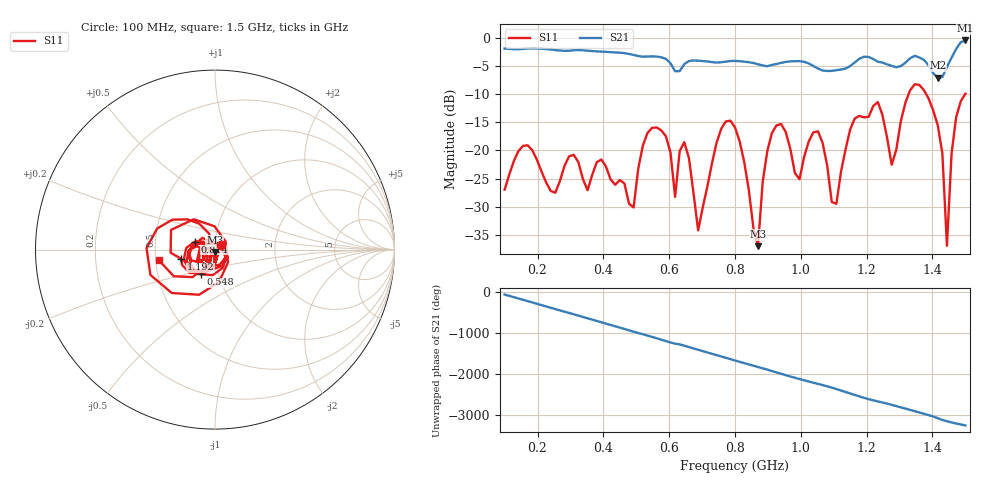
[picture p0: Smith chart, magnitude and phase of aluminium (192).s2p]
! NanoVNA-App
! Date: 2025-09-25 14:56:46
! Start: 100MHz Stop: 1,5GHz Points: 101
! S-Parameter data: F S11 S21 S12 S22
# Hz S RI R 50
!  Frequency  S11_Real  S11_Imag  S21_Real  S21_Imag  S12_Real  S12_Imag  S22_Real  S22_Imag
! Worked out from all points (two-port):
!   101 points, 100 MHz to 1.5 GHz, reference 50 ohm
!   highest |S21| = -0.48 dB at 1.5 GHz (marker M1); lowest = -7.1 dB at 1.416 GHz (marker M2)
!   |S21| within 3 dB of the highest: start of sweep to 576.7 MHz; 1.459 GHz to end of sweep (the widest 2 of 4)
!   lowest |S11| = -37.0 dB at 870 MHz (marker M3), VSWR 1.03, Z = 49.9 - j1.4 ohm
!   |S11| at or under -10 dB: start of sweep to 1.328 GHz; 1.381 GHz to 1.499 GHz (118.6 MHz wide, 8.23 % of centre)
!   S12 and S22 are empty: the file has one direction only
!   S11 on the Smith chart (normalised r, x): 100 MHz: 1.07, +0.06; 548 MHz: 0.82, -0.23; 814 MHz: 0.80, +0.07; 1.192 GHz: 0.68, -0.08; 1.5 GHz: 0.52, -0.07
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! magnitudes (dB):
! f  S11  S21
! 100 MHz  -27.0  -1.9
! 338 MHz  -25.1  -2.2
! 492 MHz  -30.1  -3.1
! 548 MHz  -16.0  -3.3
! 576 MHz  -16.4  -3.5
! 618 MHz  -28.2  -5.9
! 646 MHz  -18.5  -4.7
! 688 MHz  -34.2  -4.1
! 800 MHz  -15.9  -4.1
! 814 MHz  -18.4  -4.2
! 870 MHz  -37.0  -4.7
! 912 MHz  -16.9  -4.8
! 996 MHz  -25.1  -4.2
! 1.038 GHz  -16.8  -5.0
! 1.108 GHz  -29.5  -5.8
! 1.192 GHz  -14.1  -3.4
! 1.276 GHz  -22.5  -5.0
! 1.346 GHz  -8.3  -3.2
! 1.416 GHz  -15.5  -7.1
! 1.444 GHz  -36.9  -5.2
! 1.458 GHz  -20.6  -3.5
! 1.5 GHz  -9.9  -0.5
